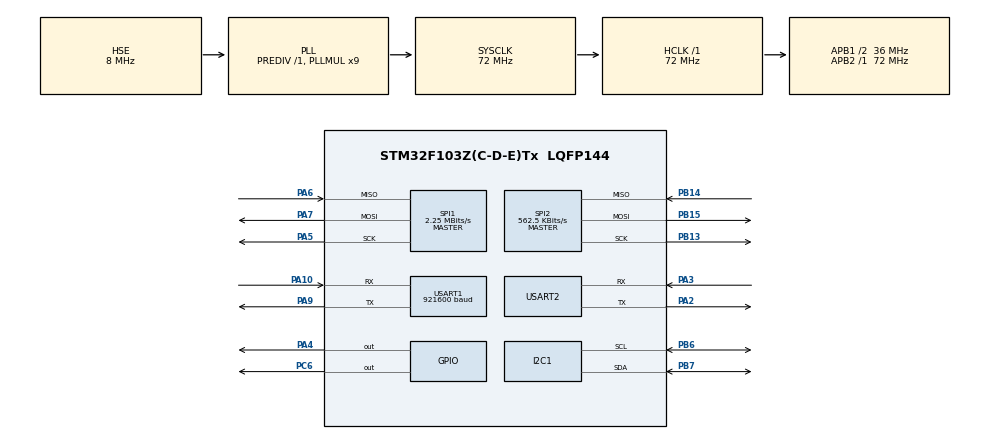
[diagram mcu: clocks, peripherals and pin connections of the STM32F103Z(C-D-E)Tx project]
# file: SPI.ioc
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Dma.Request0=USART1_RX
Dma.Request1=USART1_TX
Dma.Request2=SPI1_RX
Dma.Request3=SPI1_TX
Dma.SPI1_RX.2.Direction=DMA_PERIPH_TO_MEMORY
Dma.SPI1_RX.2.Instance=DMA1_Channel2
Dma.SPI1_RX.2.MemDataAlignment=DMA_MDATAALIGN_BYTE
Dma.SPI1_RX.2.MemInc=DMA_MINC_ENABLE
Dma.SPI1_RX.2.Mode=DMA_NORMAL
Dma.SPI1_RX.2.PeriphDataAlignment=DMA_PDATAALIGN_BYTE
Dma.SPI1_RX.2.PeriphInc=DMA_PINC_DISABLE
Dma.SPI1_RX.2.Priority=DMA_PRIORITY_VERY_HIGH
Dma.SPI1_TX.3.Direction=DMA_MEMORY_TO_PERIPH
Dma.SPI1_TX.3.Instance=DMA1_Channel3
Dma.SPI1_TX.3.MemDataAlignment=DMA_MDATAALIGN_BYTE
Dma.SPI1_TX.3.MemInc=DMA_MINC_ENABLE
Dma.SPI1_TX.3.Mode=DMA_NORMAL
Dma.SPI1_TX.3.PeriphDataAlignment=DMA_PDATAALIGN_BYTE
Dma.SPI1_TX.3.PeriphInc=DMA_PINC_DISABLE
Dma.SPI1_TX.3.Priority=DMA_PRIORITY_VERY_HIGH
Dma.USART1_RX.0.Direction=DMA_PERIPH_TO_MEMORY
Dma.USART1_RX.0.Instance=DMA1_Channel5
Dma.USART1_RX.0.MemDataAlignment=DMA_MDATAALIGN_BYTE
Dma.USART1_RX.0.MemInc=DMA_MINC_ENABLE
Dma.USART1_RX.0.Mode=DMA_CIRCULAR
Dma.USART1_RX.0.PeriphDataAlignment=DMA_PDATAALIGN_BYTE
Dma.USART1_RX.0.PeriphInc=DMA_PINC_DISABLE
Dma.USART1_RX.0.Priority=DMA_PRIORITY_VERY_HIGH
Dma.USART1_TX.1.Direction=DMA_MEMORY_TO_PERIPH
Dma.USART1_TX.1.Instance=DMA1_Channel4
Dma.USART1_TX.1.MemDataAlignment=DMA_MDATAALIGN_BYTE
Dma.USART1_TX.1.MemInc=DMA_MINC_ENABLE
Dma.USART1_TX.1.Mode=DMA_CIRCULAR
Dma.USART1_TX.1.PeriphDataAlignment=DMA_PDATAALIGN_BYTE
Dma.USART1_TX.1.PeriphInc=DMA_PINC_DISABLE
Dma.USART1_TX.1.Priority=DMA_PRIORITY_VERY_HIGH
I2C1.I2C_Mode=I2C_Fast
Mcu.Family=STM32F1
Mcu.Name=STM32F103Z(C-D-E)Tx
Mcu.Package=LQFP144
NVIC.DMA1_Channel2_IRQn=true\:0\:0\:false\:false\:true\:false\:true\:true
NVIC.DMA1_Channel3_IRQn=true\:0\:0\:false\:false\:true\:false\:true\:true
NVIC.DMA1_Channel4_IRQn=true\:0\:0\:true\:false\:true\:false\:true\:true
NVIC.DMA1_Channel5_IRQn=true\:0\:0\:true\:false\:true\:false\:true\:true
NVIC.PriorityGroup=NVIC_PRIORITYGROUP_4
NVIC.SPI1_IRQn=true\:0\:0\:false\:false\:true\:true\:true\:true
NVIC.USART1_IRQn=true\:0\:0\:true\:false\:true\:true\:true\:true
NVIC.USART2_IRQn=true\:0\:0\:true\:false\:true\:true\:true\:true
OSC_IN.Mode=HSE-External-Oscillator
OSC_IN.Signal=RCC_OSC_IN
OSC_OUT.Mode=HSE-External-Oscillator
OSC_OUT.Signal=RCC_OSC_OUT
PA10.Mode=Asynchronous
PA10.Signal=USART1_RX
PA13.Mode=Serial_Wire
PA13.Signal=SYS_JTMS-SWDIO
PA14.Mode=Serial_Wire
PA14.Signal=SYS_JTCK-SWCLK
PA2.Mode=Asynchronous
PA2.Signal=USART2_TX
PA3.Mode=Asynchronous
PA3.Signal=USART2_RX
PA4.Signal=GPIO_Output
PA5.Mode=Full_Duplex_Master
PA5.Signal=SPI1_SCK
PA6.Mode=Full_Duplex_Master
PA6.Signal=SPI1_MISO
PA7.Mode=Full_Duplex_Master
PA7.Signal=SPI1_MOSI
PA9.Mode=Asynchronous
PA9.Signal=USART1_TX
PB13.Mode=Full_Duplex_Master
PB13.Signal=SPI2_SCK
PB14.Mode=Full_Duplex_Master
PB14.Signal=SPI2_MISO
PB15.Mode=Full_Duplex_Master
PB15.Signal=SPI2_MOSI
PB6.Mode=I2C
PB6.Signal=I2C1_SCL
PB7.Mode=I2C
PB7.Signal=I2C1_SDA
PC14-OSC32_IN.Mode=LSE-External-Oscillator
PC14-OSC32_IN.Signal=RCC_OSC32_IN
PC15-OSC32_OUT.Mode=LSE-External-Oscillator
PC15-OSC32_OUT.Signal=RCC_OSC32_OUT
PC6.Signal=GPIO_Output
ProjectManager.HeapSize=0x200
ProjectManager.StackSize=0x400
ProjectManager.TargetToolchain=Makefile
RCC.AHBFreq_Value=72000000
RCC.APB1CLKDivider=RCC_HCLK_DIV2
RCC.APB1Freq_Value=36000000
RCC.APB1TimFreq_Value=72000000
RCC.APB2Freq_Value=72000000
RCC.APB2TimFreq_Value=72000000
RCC.HCLKFreq_Value=72000000
RCC.PLLMUL=RCC_PLL_MUL9
RCC.PLLSourceVirtual=RCC_PLLSOURCE_HSE
RCC.SYSCLKFreq_VALUE=72000000
RCC.SYSCLKSource=RCC_SYSCLKSOURCE_PLLCLK
RCC.USBFreq_Value=72000000
SPI1.BaudRatePrescaler=SPI_BAUDRATEPRESCALER_32
SPI1.CLKPhase=SPI_PHASE_2EDGE
SPI1.CLKPolarity=SPI_POLARITY_HIGH
SPI1.CalculateBaudRate=2.25 MBits/s
SPI1.Direction=SPI_DIRECTION_2LINES
SPI1.Mode=SPI_MODE_MASTER
SPI1.VirtualType=VM_MASTER
SPI2.BaudRatePrescaler=SPI_BAUDRATEPRESCALER_64
SPI2.CLKPhase=SPI_PHASE_2EDGE
SPI2.CalculateBaudRate=562.5 KBits/s
SPI2.Direction=SPI_DIRECTION_2LINES
SPI2.Mode=SPI_MODE_MASTER
SPI2.VirtualType=VM_MASTER
USART1.BaudRate=921600
USART1.VirtualMode=VM_ASYNC
USART2.VirtualMode=VM_ASYNC
board=custom

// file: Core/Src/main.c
/* USER CODE BEGIN Header */
/**
  ******************************************************************************
  * @file           : main.c
  * @brief          : Main program body
  ******************************************************************************
  * @attention
  *
  * Copyright (c) 2025 STMicroelectronics.
  * All rights reserved.
  *
  * This software is licensed under terms that can be found in the LICENSE file
  * in the root directory of this software component.
  * If no LICENSE file comes with this software, it is provided AS-IS.
  *
  ******************************************************************************
  */
/* USER CODE END Header */
#include "main.h"
#include "dma.h"
#include "i2c.h"
#include "spi.h"
#include "usart.h"
#include "gpio.h"

/* USER CODE BEGIN Includes */
#include "../FatFs/Inc/diskio.h"
#include "../FatFs/Inc/ff.h"
#include "../FatFs/Inc/ffconf.h"
#include "flash.h"
#include "command.h"
#include "multi_button.h"

/* USER CODE END Includes */

void SystemClock_Config(void);

/* USER CODE BEGIN 0 */
  uint8_t send_test[] = "USART1 DMA Idle Test\r\n";
  uint8_t recv_buff[USART1_DMA_RX_BUFF_SIZE] = {0};  // 用户数据缓冲区

 // FATFS fs;        // FatFs文件系统对象
 // FRESULT res;     // 操作结果

/* USER CODE END 0 */

int main(void)
{

  /* MCU Configuration--------------------------------------------------------*/

  /* Reset of all peripherals, Initializes the Flash interface and the Systick. */
  HAL_Init();

  /* Configure the system clock */
  SystemClock_Config();

  /* Initialize all configured peripherals */
  MX_GPIO_Init();
  MX_DMA_Init();
  MX_USART1_UART_Init();
  MX_SPI1_Init();
  MX_SPI2_Init();
  MX_USART2_UART_Init();
  MX_I2C1_Init();
  HAL_Delay(50);  // 硬件稳定延时
  /* USER CODE BEGIN 2 */
  uint32_t systemTick = 0;

  Button_Manage();//按键函数
  /*//spi测试
  //UsbPrintf("SPI TEST\n");
  uint32_t FLASH_ID=0;
  FLASH_ID=SPI1_ReadID();//EF 40 17
  UsbPrintf("%x\n",FLASH_ID);
  //SPI2_Send(); //25 07 29 30 24 26 82 96
  */

  ///启动USART1 DMA接收
  if (USART1_DMA_StartRx() != HAL_OK) {
    Error_Handler();
  }
  //uint8_t recv_buff[USART1_DMA_RX_BUFF_SIZE] = {0};  // 用户数据缓冲区

  //flash_device_id();

  UsbPrintf("----- Data:%s Time:%s -----",__DATE__, __TIME__);
  /* USER CODE END 2 */
  /* Infinite loop */
  /* USER CODE BEGIN WHILE */

/* //flash测试
  // 1. 读取Flash ID
  uint16_t flash_id = flash_device_id();
  UsbPrintf("Flash ID: 0x%04X\r\n", flash_id); //

  // 2. 测试扇区擦除+读写
  uint8_t test_buf[4096] = {0x55};
  int erase_res = flash_erase_sector(0); // 擦除0号扇区
  UsbPrintf("Erase Sector 0: %d\r\n", erase_res); // 必须返回1（成功）
  int write_res = flash_write_data(0, test_buf, 4096); // 写入0号扇区
  UsbPrintf("Write Sector 0: %d\r\n", write_res); // 必须返回1（成功）
  memset(test_buf, 0, 4096);
  int read_res = flash_read_data(0, test_buf, 4096); // 读取0号扇区
  UsbPrintf("Read Sector 0: %d, Data[0]: 0x%02X\r\n", read_res, test_buf[0]); // 必须返回1，Data[0]=0x55
*/

 /*//diskio测试
  // 1. 检查设备状态

  DSTATUS stat = disk_status(0);
  UsbPrintf("Disk Status: %d\r\n", stat); // 必须返回0（STA_OK）

  // 2. 检查扇区参数
  WORD sector_size;
  DWORD sector_count, block_size;
  disk_ioctl(0, GET_SECTOR_SIZE, &sector_size);
  disk_ioctl(0, GET_SECTOR_COUNT, &sector_count);
  disk_ioctl(0, GET_BLOCK_SIZE, &block_size);
  UsbPrintf("Sector Size: %d, Total Sector: %d, Block Size: %d\r\n", sector_size, sector_count, block_size);
  // 必须打印：4096, 2048, 16
  */

  while (1)
  {
    /* USER CODE END WHILE */
    /* USER CODE BEGIN 3 */
    //HAL_Delay(2000);

    /*// 3. 检查是否有数据接收完成 DMA接收完成标志
    if (g_usart1_rx_done == 1)
    {
      //memcpy(recv_buff, g_usart1_dma_rx_buff, g_usart1_rx_len);
      ///UsbPrintf("%s ", recv_buff);

      ///USART1_DMA_SendData(recv_buff, g_usart1_rx_len);
      HAL_UART_Transmit_DMA(&huart1, g_usart1_dma_rx_buff, g_usart1_rx_len);
      //memset(recv_buff, 0, sizeof(recv_buff));

      g_usart1_rx_done = 0;
      g_usart1_rx_len = 0;
      //memset(recv_buff, 0, g_usart1_rx_len);
      //
    }
    */
    CheckCommandList();

    if (systemTick != HAL_GetTick())
    {
      if (systemTick % 5 == 0)
      {
        button_ticks();
      }
      if (systemTick % 1000 == 0)
      {
        /*SPI2 测试
        //uint8_t i=0;
        // CS2_HIGH;
        // uint8_t send=0xB8;
        // uint8_t rece[7]={0x08};
        // if(HAL_SPI_Transmit(&hspi2, &send,  1, 1000) != HAL_OK)
        // {
        //   UsbPrintf("send2 error ");
        // }

        // if(HAL_SPI_Receive(&hspi2, rece,  7, 1000)!= HAL_OK)
        // {
        //   UsbPrintf("receive2 error ");
        // }
        // for(i = 0; i < 7; i++) {
        //   UsbPrintf("%02x ",rece[i]);
        // }
        // CS2_LOW;
        */

      }
      systemTick = HAL_GetTick();
    }

  }
  /* USER CODE END 3 */
}

void SystemClock_Config(void)
{
  RCC_OscInitTypeDef RCC_OscInitStruct = {0};
  RCC_ClkInitTypeDef RCC_ClkInitStruct = {0};

  /** Initializes the RCC Oscillators according to the specified parameters
  * in the RCC_OscInitTypeDef structure.
  */
  RCC_OscInitStruct.OscillatorType = RCC_OSCILLATORTYPE_HSE;
  RCC_OscInitStruct.HSEState = RCC_HSE_ON;
  RCC_OscInitStruct.HSEPredivValue = RCC_HSE_PREDIV_DIV1;
  RCC_OscInitStruct.HSIState = RCC_HSI_ON;
  RCC_OscInitStruct.PLL.PLLState = RCC_PLL_ON;
  RCC_OscInitStruct.PLL.PLLSource = RCC_PLLSOURCE_HSE;
  RCC_OscInitStruct.PLL.PLLMUL = RCC_PLL_MUL9;
  if (HAL_RCC_OscConfig(&RCC_OscInitStruct) != HAL_OK)
  {
    Error_Handler();
  }

  /** Initializes the CPU, AHB and APB buses clocks
  */
  RCC_ClkInitStruct.ClockType = RCC_CLOCKTYPE_HCLK|RCC_CLOCKTYPE_SYSCLK
                              |RCC_CLOCKTYPE_PCLK1|RCC_CLOCKTYPE_PCLK2;
  RCC_ClkInitStruct.SYSCLKSource = RCC_SYSCLKSOURCE_PLLCLK;
  RCC_ClkInitStruct.AHBCLKDivider = RCC_SYSCLK_DIV1;
  RCC_ClkInitStruct.APB1CLKDivider = RCC_HCLK_DIV2;
  RCC_ClkInitStruct.APB2CLKDivider = RCC_HCLK_DIV1;

  if (HAL_RCC_ClockConfig(&RCC_ClkInitStruct, FLASH_LATENCY_2) != HAL_OK)
  {
    Error_Handler();
  }
}

/* USER CODE BEGIN 4 */
#define UART_TRANSMIT_BUFF_NUMBER   256
uint8_t g_UsbTxBuff[UART_TRANSMIT_BUFF_NUMBER] = {0};
void UsbPrintf(char* fmt,...)
{
	va_list ap;
	memset(g_UsbTxBuff, 0, UART_TRANSMIT_BUFF_NUMBER);
	va_start(ap, fmt);
	vsnprintf((char*)g_UsbTxBuff, UART_TRANSMIT_BUFF_NUMBER, fmt, ap);
	va_end(ap);
	HAL_UART_Transmit(&huart1, g_UsbTxBuff, strlen((char*)g_UsbTxBuff), 1000);
}

/* USER CODE END 4 */

void Error_Handler(void)
{
  __disable_irq();
  while (1)
  {
  }
}
